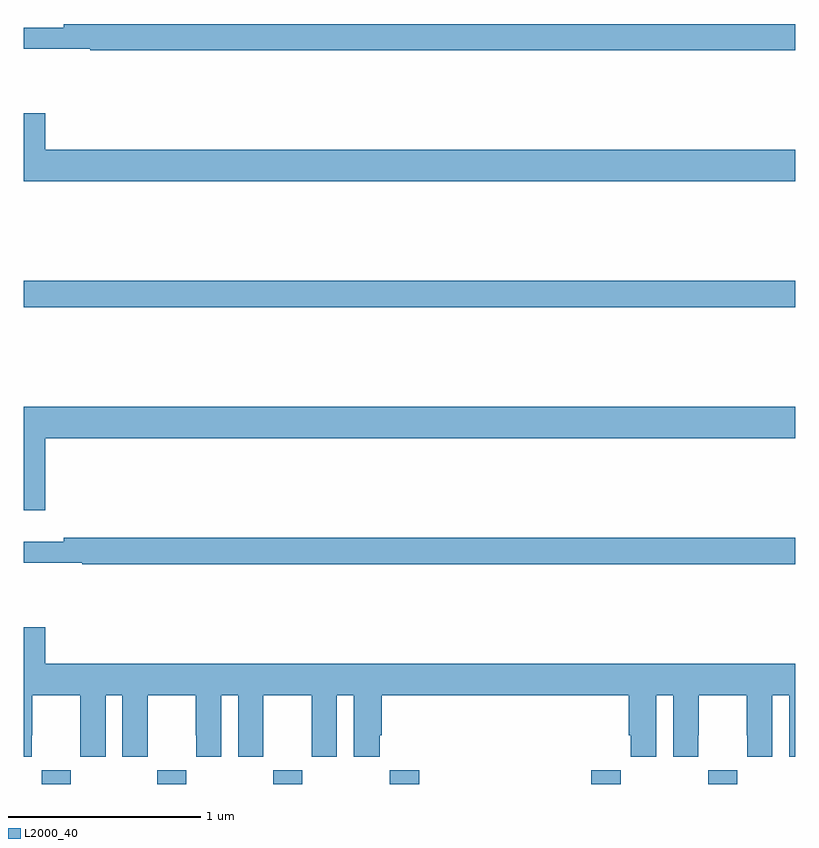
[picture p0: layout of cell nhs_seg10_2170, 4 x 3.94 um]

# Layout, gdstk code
import gdstk
lib = gdstk.Library(unit=1e-6, precision=1e-09)
def R(c, l, rs):  # rectangles x0, y0, x1, y1
    for r in rs: c.add(gdstk.rectangle(r[:2], r[2:], *l))
def A(c, l, x, y, w, h, nx, ny, dx, dy):  # array of equal rectangles
    R(c, l, [(x+i*dx, y+j*dy, x+i*dx+w, y+j*dy+h) for i in range(nx) for j in range(ny)])
def P(c, l, *ps):  # polygons
    for p in ps: c.add(gdstk.Polygon(p, *l))
L2000_40 = (2000, 40)

nhs_seg10_2170 = lib.new_cell('nhs_seg10_2170')
A(nhs_seg10_2170, L2000_40, 225.093, 1322.5, 0.15, 0.072, 3, 1, 0.6, 0)
R(nhs_seg10_2170, L2000_40, [(226.897,1322.5,227.051,1322.572), (227.942,1322.5,228.095,1322.572), (228.549,1322.5,228.699,1322.572), (225,1324.972,229,1325.108)])
P(nhs_seg10_2170, L2000_40, [(229,1326.44),(225.208,1326.44),(225.208,1326.421),(225,1326.421),(225,1326.312),(225.345,1326.312),(225.345,1326.304),(229,1326.304)],
  [(229,1325.788),(225.112,1325.788),(225.112,1325.977),(225,1325.977),(225,1325.624),(229,1325.624)],
  [(225.112,1324.292),(229,1324.292),(229,1324.456),(225,1324.456),(225,1323.918),(225.112,1323.918)],
  [(229,1323.776),(225.208,1323.776),(225.208,1323.757),(225,1323.757),(225,1323.648),(225.304,1323.648),(225.304,1323.64),(229,1323.64)],
  [(225.042,1322.752),(225.043,1322.752),(225.043,1322.96),(225.293,1322.96),(225.293,1322.752),(225.294,1322.752),(225.294,1322.64),(225.424,1322.64),(225.424,1322.96),(225.512,1322.96),(225.512,1322.64),(225.642,1322.64),(225.642,1322.752),(225.643,1322.752),(225.643,1322.96),(225.893,1322.96),(225.893,1322.752),(225.894,1322.752),(225.894,1322.64),(226.024,1322.64),(226.024,1322.96),(226.112,1322.96),(226.112,1322.64),(226.242,1322.64),(226.242,1322.752),(226.243,1322.752),(226.243,1322.96),(226.493,1322.96),(226.493,1322.752),(226.494,1322.752),(226.494,1322.64),(226.624,1322.64),(226.624,1322.96),(226.712,1322.96),(226.712,1322.64),(226.846,1322.64),(226.846,1322.752),(226.856,1322.752),(226.856,1322.96),(228.137,1322.96),(228.137,1322.752),(228.146,1322.752),(228.146,1322.64),(228.28,1322.64),(228.28,1322.96),(228.368,1322.96),(228.368,1322.64),(228.498,1322.64),(228.498,1322.752),(228.499,1322.752),(228.499,1322.96),(228.749,1322.96),(228.749,1322.752),(228.75,1322.752),(228.75,1322.64),(228.88,1322.64),(228.88,1322.96),(228.968,1322.96),(228.968,1322.64),(229,1322.64),(229,1323.124),(225.112,1323.124),(225.112,1323.313),(225,1323.313),(225,1322.64),(225.042,1322.64)])

lib.write_gds('nhs_seg10_2170.gds')
